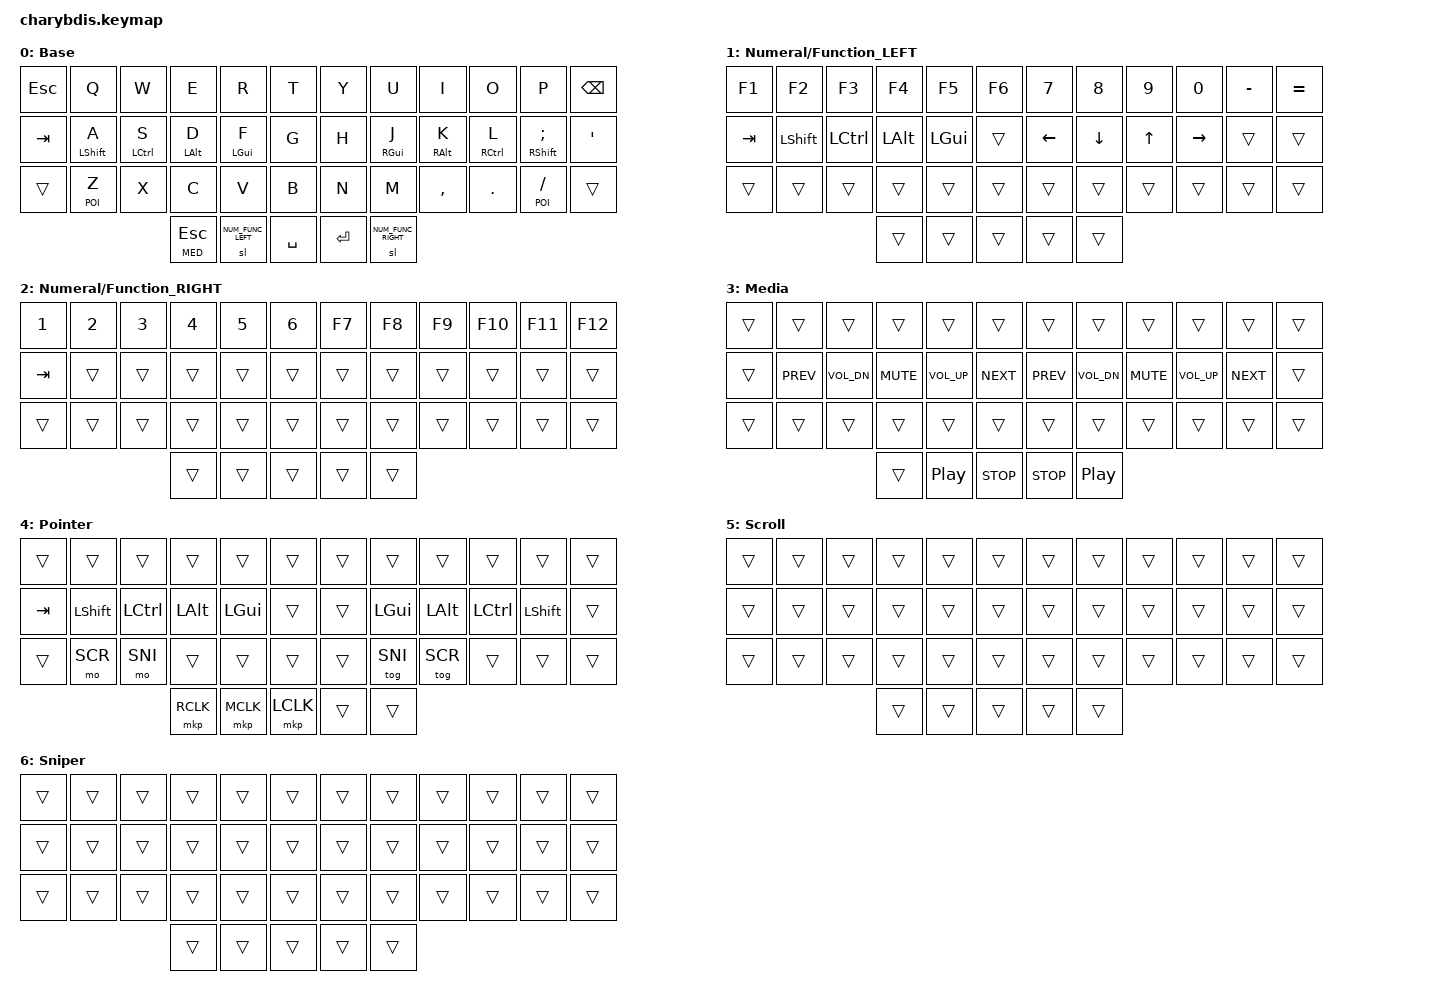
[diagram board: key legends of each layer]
#include <dt-bindings/zmk/mouse.h>
#include <behaviors/mouse_keys.dtsi>
#include <behaviors.dtsi>
#include <dt-bindings/zmk/bt.h>
#include <dt-bindings/zmk/keys.h>

#define BASE 0
#define NUM_FUNC_LEFT 1
#define NUM_FUNC_RIGHT 2
#define MED 3
#define POI 4
#define SCR 5
#define SNI 6

&sl {
  release-after-ms = <250>;
};

/ {
    chosen {
        zmk,matrix_transform = &split_transform;
    };

    #include "combos.dtsi"

    behaviors {
        hml: HOMEROW_MODS_LEFT_HAND {
            compatible = "zmk,behavior-hold-tap";
            label = "HOMEROW_MODS_LEFT_HAND";
            bindings = <&kp>, <&kp>;

            #binding-cells = <2>;
            tapping-term-ms = <280>;
            hold-trigger-key-positions = <6 7 8 9 10 11 18 19 20 21 22 23 30 31 32 33 34 35 39 40>;
            flavor = "balanced";
            quick-tap-ms = <175>;
            require-prior-idle-ms = <125>;
            hold-trigger-on-release;
        };

        hmr: HOMEROW_MODS_RIGHT_HAND {
            compatible = "zmk,behavior-hold-tap";
            label = "HOMEROW_MODS_RIGHT_HAND";
            bindings = <&kp>, <&kp>;

            #binding-cells = <2>;
            tapping-term-ms = <280>;
            hold-trigger-key-positions = <0 1 2 3 4 5 12 13 14 15 16 17 24 25 26 27 28 29 36 37 38>;
            flavor = "balanced";
            quick-tap-ms = <175>;
            require-prior-idle-ms = <125>;
            hold-trigger-on-release;
        };
    };

    keymap {
        compatible = "zmk,keymap";
        Base {
            label = "Base";
            bindings = <
              &kp ESC       &kp Q           &kp W           &kp E           &kp R               &kp T           &kp Y       &kp U           &kp I           &kp O           &kp P                   &kp BSPC
              &kp TAB       &hml LSHFT A    &hml LCTRL S    &hml LALT D     &hml LGUI F         &kp G           &kp H       &hml RGUI J     &hml RALT K     &hml RCTRL L    &hml RSHFT SEMICOLON    &kp SQT
              &trans        &lt POI Z       &kp X           &kp C           &kp V               &kp B           &kp N       &kp M           &kp COMMA       &kp DOT         &lt POI SLASH           &trans
                                                            &lt MED ESC     &sl NUM_FUNC_LEFT   &kp SPACE       &kp ENTER   &sl NUM_FUNC_RIGHT
            >;
        };

        NUM_FUNC_LEFT {
            label = "Numeral/Function_LEFT";
            bindings = <
                &kp F1      &kp F2      &kp F3      &kp F4      &kp F5      &kp F6      &kp N7      &kp N8      &kp N9      &kp N0      &kp MINUS   &kp EQUAL
                &kp TAB     &kp LSHFT   &kp LCTRL   &kp LALT    &kp LGUI    &trans      &kp LEFT    &kp DOWN    &kp UP      &kp RIGHT   &trans      &trans
                &trans      &trans      &trans      &trans      &trans      &trans      &trans      &trans      &trans      &trans      &trans      &trans
                                                    &trans      &trans      &trans      &trans      &trans
            >;
        };

        NUM_FUNC_RIGHT {
            label = "Numeral/Function_RIGHT";
            bindings = <
                &kp N1      &kp N2      &kp N3      &kp N4      &kp N5      &kp N6      &kp F7      &kp F8      &kp F9      &kp F10     &kp F11     &kp F12
                &kp TAB     &trans      &trans      &trans      &trans      &trans      &trans      &trans      &trans      &trans      &trans      &trans
                &trans      &trans      &trans      &trans      &trans      &trans      &trans      &trans      &trans      &trans      &trans      &trans
                                                    &trans      &trans      &trans      &trans      &trans
            >;
        };

        Media {
            label = "Media";
            bindings = <
              &trans    &trans      &trans      &trans      &trans      &trans      &trans      &trans      &trans      &trans      &trans      &trans
              &trans &kp C_PREV &kp C_VOL_DN  &kp C_MUTE     &kp C_VOL_UP &kp C_NEXT        &kp C_PREV  &kp C_VOL_DN  &kp C_MUTE      &kp C_VOL_UP  &kp C_NEXT &trans
              &trans &trans     &trans        &trans         &trans       &trans            &trans      &trans        &trans          &trans        &trans &trans
                                       &trans    &kp C_PLAY_PAUSE  &kp C_STOP        &kp C_STOP  &kp C_PLAY_PAUSE
            >;
        };

        Pointer {
            label = "Pointer";
            bindings = <
              &trans &trans       &trans       &trans        &trans        &trans               &trans &trans        &trans        &trans       &trans &trans
              &kp TAB     &kp LSHFT   &kp LCTRL   &kp LALT    &kp LGUI &trans &trans &kp LGUI &kp LALT &kp LCTRL &kp LSHFT &trans
              &trans       &mo SCR      &mo SNI       &trans        &trans               &trans &trans        &tog SNI      &tog SCR     &trans &trans &trans
                                            &mkp RCLK  &mkp MCLK   &mkp LCLK    &trans &trans
            >;
        };

        Scroll {
            label = "Scroll";
            bindings = <
                &trans &trans  &trans  &trans  &trans  &trans    &trans  &trans  &trans  &trans  &trans &trans
                &trans &trans  &trans  &trans  &trans  &trans    &trans  &trans  &trans  &trans  &trans &trans
                &trans &trans  &trans  &trans  &trans  &trans    &trans  &trans  &trans  &trans  &trans &trans
                                &trans  &trans  &trans    &trans  &trans
            >;
        };

        Sniper {
            label = "Sniper";
            bindings = <
                &trans &trans  &trans  &trans  &trans  &trans    &trans  &trans  &trans  &trans  &trans &trans
                &trans &trans  &trans  &trans  &trans  &trans    &trans  &trans  &trans  &trans  &trans &trans
                &trans &trans  &trans  &trans  &trans  &trans    &trans  &trans  &trans  &trans  &trans &trans
                                &trans  &trans  &trans    &trans  &trans
            >;
        };
    };
};
